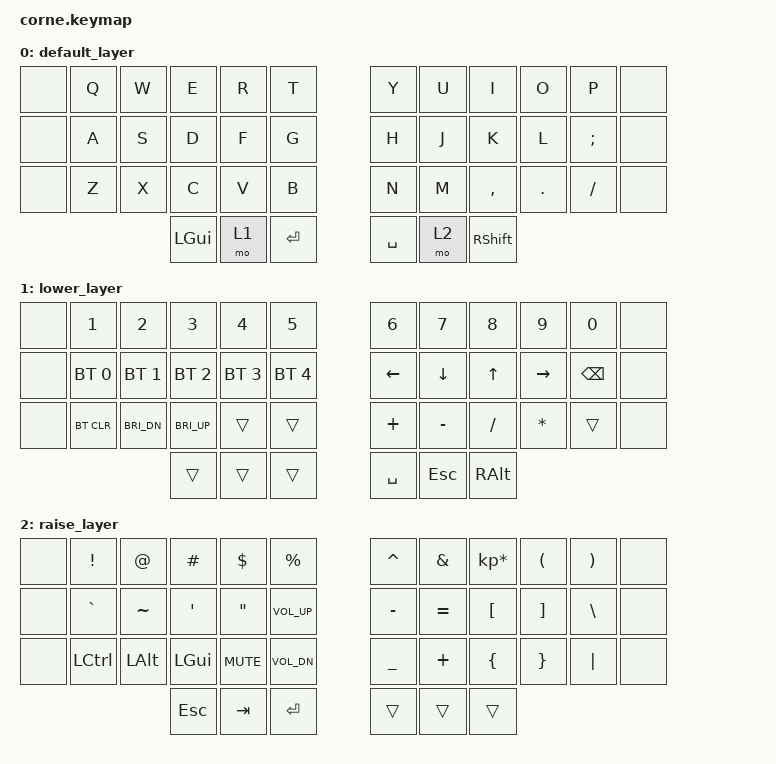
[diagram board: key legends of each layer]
/*
 * Copyright (c) 2020 The ZMK Contributors
 *
 * SPDX-License-Identifier: MIT
 */

#include <behaviors.dtsi>
#include <dt-bindings/zmk/keys.h>
#include <dt-bindings/zmk/bt.h>

/ {
        keymap {
                compatible = "zmk,keymap";

                default_layer {
// ------------------------------------------------------------------
// |  Q  |  W  |  E  |  R  |  T  |   |  Y  |  U   |  I  |  O  |  P  |
// |  A  |  S  |  D  |  F  |  G  |   |  H  |  J   |  K  |  L  |  ;  |
// |  Z  |  X  |  C  |  V  |  B  |   |  N  |  M   |  ,  |  .  |  /  |
//           | SUPER | LWR | ENT |   | SPC | RSE  | SHFT |
                        bindings = <
   &none &kp Q &kp W &kp E    &kp R &kp T       &kp Y     &kp U &kp I     &kp O   &kp P    &none 
   &none &kp A &kp S &kp D    &kp F &kp G       &kp H     &kp J &kp K     &kp L   &kp SEMI &none 
   &none &kp Z &kp X &kp C    &kp V &kp B       &kp N     &kp M &kp COMMA &kp DOT &kp FSLH &none 
             &kp LGUI &mo 1 &kp RET       &kp SPACE &mo 2 &kp RSHFT
                        >;
                };
                lower_layer {
// --------------------------------------------------------------------------
// |  1     |  2     |  3    |  4  |  5  |   |  6  |  7  |  8  |  9  |  0   |
// | BT1    | BT2    | BT3   | BT4 | BT5 |   | LFT | DWN |  UP | RGT | BKSP |
// | BT_CLR | BR DWN | BR UP |     |     |   |  +  |  -  |  /  |  *  |      |
//                     |     |     |     |   | SPC | ESC | ALT |
                        bindings = <
   &none &kp N1       &kp N2        &kp N3       &kp N4       &kp N5           &kp N6    &kp N7    &kp N8   &kp N9    &kp N0   &none 
   &none &bt BT_SEL 0 &bt BT_SEL 1  &bt BT_SEL 2 &bt BT_SEL 3 &bt BT_SEL 4     &kp LEFT  &kp DOWN  &kp UP   &kp RIGHT &kp BSPC &none 
   &none &bt BT_CLR   &kp C_BRI_DN  &kp C_BRI_UP &trans       &trans           &kp PLUS  &kp MINUS &kp FSLH &kp STAR  &trans   &none 
                              &trans       &trans       &trans           &kp SPACE &kp ESC   &kp RALT
                        >;
                };

                raise_layer {
// -----------------------------------------------------------------------
// |  !   |  @  |  #    |  $   |  %    |   |  ^  |  &  |  *  |  (  |  )  |
// |  `   |  ~  |  '    |  "   | VOLUP |   |  -  |  =  |  [  |  ]  |  \  |
// | CTRL | ALT | SUPER | MUTE | VOLDN |   |  _  |  +  |  {  |  }  | "|" |
//                   | ESC | TAB | ENT |   |     |     |     |
                        bindings = <
   &none &kp EXCL  &kp AT    &kp HASH  &kp DLLR   &kp PRCNT         &kp CARET &kp AMPS  &kp KP_MULTIPLY &kp LPAR &kp RPAR &none 
   &none &kp GRAVE &kp TILDE &kp SQT   &kp DQT    &kp C_VOL_UP      &kp MINUS &kp EQUAL &kp LBKT        &kp RBKT &kp BSLH &none 
   &none &kp LCTRL &kp LALT  &kp LGUI  &kp C_MUTE &kp C_VOL_DN      &kp UNDER &kp PLUS  &kp LBRC        &kp RBRC &kp PIPE &none 
                    	&kp ESC  &kp TAB    &kp RET           &trans    &trans    &trans
                        >;
                };
        };
};
